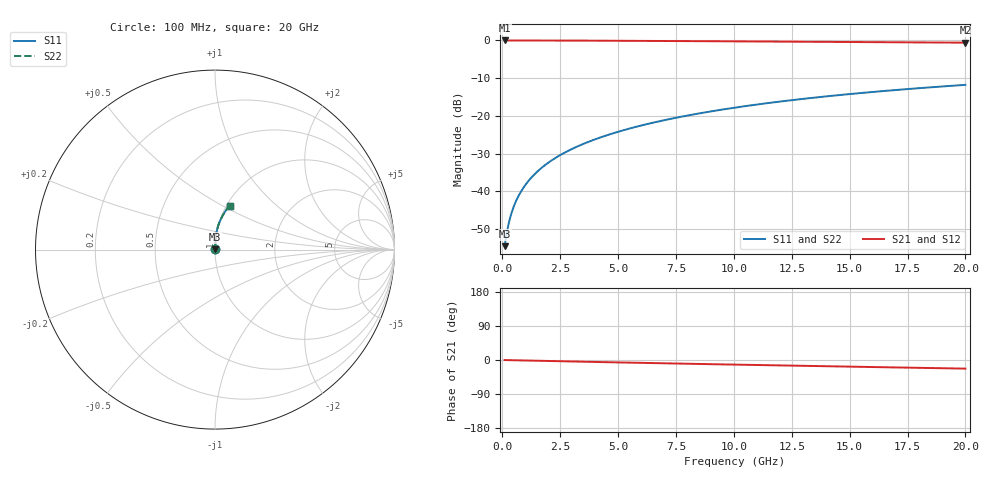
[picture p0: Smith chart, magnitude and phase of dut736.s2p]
! Touchstone file exported from HFSS 2024.1.0
!  File:  C:/UserFiles/LocalFiles/RDL_TSV_Batchsim/temp_RDL_bottom_736_1779859136.aedt
!  Generated:  01:21:40 PM May 27, 2026
!  Design:  RDL_bottom
!  Project:  temp_RDL_bottom_736_1779859136
!  Setup:  Setup1
!  Solution:  Sweep
! Variables:
!  dtsv = 10.80580581um
!  hbump = 3um
!  htsv = 58.54um
!  ldown = 278.51um
!  lrdl = 100um
!  p = 40
!  p1 = 53.67um
!  rhole = 1um
!  t = 450um
!  tdown = 4.13um
!  trdl = 3.915915916um
!  wdown = 19.95um
!  wrdl = 20um
# GHz S MA R 50.000000
! Terminal data exported
! Port[1] = RDL1_T1
! Port[2] = RDL1_T2
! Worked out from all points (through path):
!   200 points, 100 MHz to 20 GHz, reference 50 ohm
!   highest |S21| = -0.01 dB at 100 MHz (marker M1); lowest = -0.6 dB at 20 GHz (marker M2)
!   group delay of S21, straight-line fit = 3.13 ps
!   lowest |S11| = -54.6 dB at 100 MHz (marker M3), VSWR 1.00, Z = 50.1 + j0.128 ohm
!   |S11| at or under -10 dB: start of sweep to end of sweep
!   |S22| runs from -54.6 to -11.8 dB; largest |S21 - S12| = 4.1e-15
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0.1  0.001868 43.0  0.9986 -0.1  0.9986 -0.1  0.001868 43.0
! Gamma 0 0 0 0
! Port Impedance 50 0 50 0
0.2  0.002892 60.7  0.9986 -0.3  0.9986 -0.3  0.002892 60.7
0.3  0.004022 68.5  0.9985 -0.4  0.9985 -0.4  0.004022 68.5
0.4  0.005172 72.8  0.9984 -0.5  0.9984 -0.5  0.005172 72.8
0.5  0.006326 75.6  0.9983 -0.7  0.9983 -0.7  0.006327 75.6
0.6  0.007484 77.6  0.9983 -0.8  0.9983 -0.8  0.007485 77.6
0.8  0.009812 80.3  0.9981 -1.1  0.9981 -1.1  0.009813 80.3
1.1  0.01333 82.7  0.9978 -1.5  0.9978 -1.5  0.01334 82.7
1.5  0.01808 84.4  0.9974 -2.0  0.9974 -2.0  0.01808 84.4
1.8  0.02166 85.2  0.997 -2.4  0.997 -2.4  0.02166 85.2
2.1  0.02527 85.8  0.9965 -2.7  0.9965 -2.7  0.02527 85.8
2.7  0.03256 86.5  0.9953 -3.5  0.9953 -3.5  0.03256 86.5
3.5  0.04243 86.9  0.9934 -4.5  0.9934 -4.5  0.04243 86.9
4.2  0.05122 86.9  0.9916 -5.4  0.9916 -5.4  0.05122 86.9
5  0.06142 86.7  0.9892 -6.4  0.9892 -6.4  0.06142 86.7
5.9  0.07308 86.3  0.9863 -7.5  0.9863 -7.5  0.07308 86.3
6.8  0.08492 85.7  0.9832 -8.5  0.9832 -8.5  0.08492 85.7
8.4  0.1063 84.4  0.9777 -10.4  0.9777 -10.4  0.1063 84.4
10.1  0.1291 82.8  0.9716 -12.3  0.9716 -12.3  0.1291 82.8
13.4  0.1733 79.2  0.9594 -15.8  0.9594 -15.8  0.1733 79.2
16.7  0.2162 75.4  0.9468 -19.3  0.9468 -19.3  0.2162 75.4
20  0.2574 71.7  0.9335 -22.7  0.9335 -22.7  0.2574 71.7
